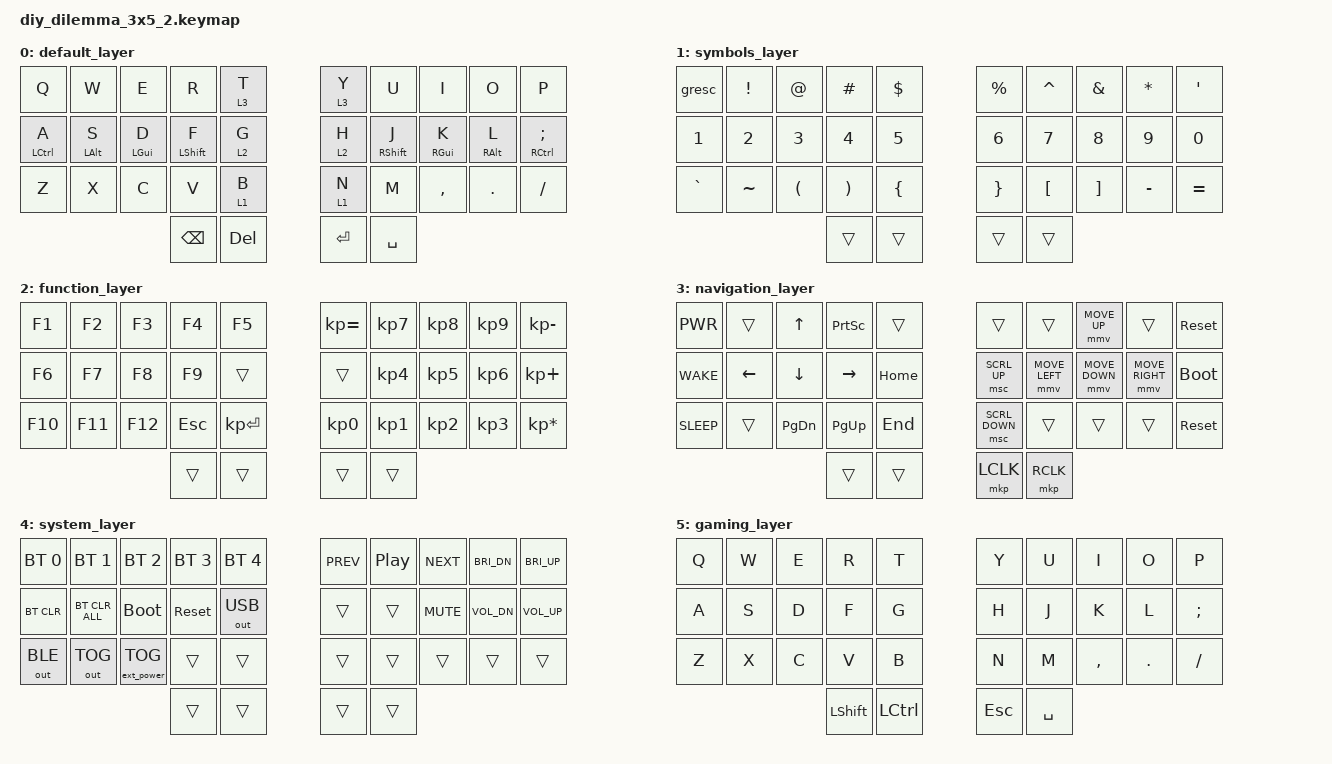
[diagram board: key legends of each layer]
/*
 * Copyright (c) 2023 The ZMK Contributors
 *
 * SPDX-License-Identifier: MIT
 */

#include <behaviors.dtsi>
#include <dt-bindings/zmk/bt.h>
#include <dt-bindings/zmk/keys.h>
#include <dt-bindings/zmk/mouse.h>
#include <dt-bindings/zmk/ext_power.h>
#include <dt-bindings/zmk/outputs.h>

&mt {
    flavor = "tap-preferred";
    tapping_term_ms = <175>;
};

/ {
    combos {
        compatible = "zmk,combos";
        combo_esc {
            timeout-ms = <50>;
            key-positions = <0 1>;
            bindings = <&kp ESC>;
        };
        
        combo_tab {
            timeout-ms = <50>;
            key-positions = <10 11>;
            bindings = <&kp TAB>;
        };
        
        combo_ralt {
            timeout-ms = <50>;
            key-positions = <17 16>;
            bindings = <&kp RALT>;
        };
        
        combo_lalt {
            timeout-ms = <50>;
            key-positions = <11 12>;
            bindings = <&kp LALT>;
        };
        
        combo_lgui {
            timeout-ms = <50>;
            key-positions = <12 13>;
            bindings = <&kp LGUI>;
        };
        
        combo_rgui {
            timeout-ms = <50>;
            key-positions = <15 16>;
            bindings = <&kp RGUI>;
        };
        
        combo_system_left {
            timeout-ms = <40>;
            key-positions = <24 31>; // B + DEL
            bindings = <&mo 4>;
        };
        
        combo_system_right {
            timeout-ms = <40>;
            key-positions = <25 32>; // N + ENT
            bindings = <&mo 4>;
        };
        
        combo_undo {
            timeout-ms = <50>;
            key-positions = <20 21>; // Z + X
            bindings = <&kp LC(Z)>;
        };
        
        combo_cut {
            timeout-ms = <50>;
            key-positions = <21 22>; // X + C
            bindings = <&kp LC(X)>;
        };
        
        combo_copy {
            timeout-ms = <50>;
            key-positions = <22 23>; // C + V
            bindings = <&kp LC(C)>;
        };
        
        combo_paste {
            timeout-ms = <50>;
            key-positions = <23 24>; // V + B
            bindings = <&kp LC(V)>;
        };
        
        combo_gaming_toggle {
            timeout-ms = <50>;
            key-positions = <0 9>; // Q + P
            bindings = <&tog 5>;
        };
        
        combo_gaming_numbers {
            timeout-ms = <40>;
            key-positions = <30 31>; // Both thumb keys
            bindings = <&mo 1>;
            layers = <5>;
        };
    };

    keymap {
        compatible = "zmk,keymap";
        default_layer {
            bindings = <
        //╭──────────┬──────────┬──────────┬──────────┬──────────╮   ╭──────────┬──────────┬──────────┬──────────┬──────────╮
        //│  Q       │  W       │  E       │  R       │  T       │   │  Y       │  U       │  I       │  O       │  P       │
            &kp Q      &kp W      &kp E      &kp R      &lt 3 T        &lt 3 Y    &kp U      &kp I      &kp O      &kp P
        //├──────────┼──────────┼──────────┼──────────┼──────────┤   ├──────────┼──────────┼──────────┼──────────┼──────────┤
        //│ MT(CTRL,A)│ MT(ALT,S) │ MT(GUI,D) │MT(SHFT,F) │  G       │   │  H       │MT(SHFT,J) │ MT(GUI,K) │ MT(ALT,L) │MT(CTRL,;)│
            &mt LCTRL A &mt LALT S &mt LGUI D &mt LSHIFT F &lt 2 G    &lt 2 H  &mt RSHIFT J &mt RGUI K &mt RALT L &mt RCTRL SEMICOLON
        //├──────────┼──────────┼──────────┼──────────┼──────────┤   ├──────────┼──────────┼──────────┼──────────┼──────────┤
        //│    Z     │    X     │    C     │    V     │  B       │   │  N       │    M     │    ,     │    .     │    /     │
           &kp Z      &kp X      &kp C      &kp V      &lt 1 B        &lt 1 N    &kp M      &kp COMMA  &kp DOT    &kp SLASH
        //╰──────────┴──────────┴──────────┼──────────┼──────────┤   ├──────────┼──────────┼──────────┴──────────┴──────────╯
                                             &kp BSPC   &kp DEL        &kp ENTER  &kp SPACE
        //                                 ╰──────────┴──────────╯   ╰──────────┴──────────╯
            >;
        };

        symbols_layer {
            bindings = <
        //╭──────────┬──────────┬──────────┬──────────┬──────────╮   ╭──────────┬──────────┬──────────┬──────────┬──────────╮
        //│ ESC      │  !       │  @       │  #       │  $       │   │  %       │  ^       │  &       │  *       │  '       │
           &gresc     &kp EXCL   &kp AT     &kp HASH   &kp DLLR       &kp PRCNT  &kp CARET  &kp AMPS   &kp ASTRK  &kp APOS
        //├──────────┼──────────┼──────────┼──────────┼──────────┤   ├──────────┼──────────┼──────────┼──────────┼──────────┤
        //│  1       │  2       │  3       │  4       │  5       │   │  6       │  7       │  8       │  9       │  0       │
            &kp N1     &kp N2     &kp N3     &kp N4     &kp N5         &kp N6     &kp N7     &kp N8     &kp N9     &kp N0
        //├──────────┼──────────┼──────────┼──────────┼──────────┤   ├──────────┼──────────┼──────────┼──────────┼──────────┤
        //│  `       │  ~       │  (       │  )       │  {       │   │  }       │  [       │  ]       │  -       │  =       │
            &kp GRAVE  &kp TILDE  &kp LPAR   &kp RPAR   &kp LBRC       &kp RBRC   &kp LBKT   &kp RBKT   &kp MINUS  &kp EQUAL
        //╰──────────┴──────────┴──────────┼──────────┼──────────┤   ├──────────┼──────────┼──────────┴──────────┴──────────╯
                                             &trans     &trans         &trans     &trans
        //                                 ╰──────────┴──────────╯   ╰──────────┴──────────╯
            >;
        };

        function_layer {
            bindings = <
        //╭──────────┬──────────┬──────────┬──────────┬──────────╮   ╭──────────┬──────────┬──────────┬──────────┬──────────╮
        //│ F1       │  F2      │  F3      │  F4      │  F5      │   │  =       │  7       │  8       │  9       │  -       │
            &kp F1     &kp F2     &kp F3     &kp F4     &kp F5         &kp KP_EQUAL &kp KP_N7 &kp KP_N8  &kp KP_N9  &kp KP_MINUS
        //├──────────┼──────────┼──────────┼──────────┼──────────┤   ├──────────┼──────────┼──────────┼──────────┼──────────┤
        //│ F6       │  F7      │  F8      │  F9      │          │   │          │  4       │  5       │  6       │  +       │
            &kp F6     &kp F7     &kp F8     &kp F9     &trans         &trans     &kp KP_N4  &kp KP_N5  &kp KP_N6  &kp KP_PLUS
        //├──────────┼──────────┼──────────┼──────────┼──────────┤   ├──────────┼──────────┼──────────┼──────────┼──────────┤
        //│ F10      │  F11     │  F12     │  ESC     │  ENTER   │   │  0       │  1       │  2       │  3       │  *       │
            &kp F10    &kp F11    &kp F12    &kp ESC    &kp KP_ENTER   &kp KP_N0  &kp KP_N1  &kp KP_N2  &kp KP_N3  &kp KP_ASTERISK
        //╰──────────┴──────────┴──────────┼──────────┼──────────┤   ├──────────┼──────────┼──────────┴──────────┴──────────╯
                                             &trans     &trans         &trans     &trans
        //                                 ╰──────────┴──────────╯   ╰──────────┴──────────╯
            >;
        };
        
        navigation_layer {
            bindings = <
        //╭──────────┬──────────┬──────────┬──────────┬──────────╮   ╭──────────┬──────────┬──────────┬──────────┬──────────╮
        //│ POWER    │          │  UP      │ PSCREEN  │          │   │          │          │ MS_UP    │          │ EE_CLR   │
           &kp C_PWR   &trans     &kp UP     &kp PSCRN  &trans         &trans     &trans     &mmv MOVE_UP &trans   &sys_reset
        //├──────────┼──────────┼──────────┼──────────┼──────────┤   ├──────────┼──────────┼──────────┼──────────┼──────────┤
        //│ WAKE     │ LEFT     │ DOWN     │ RIGHT    │ HOME     │   │ SCRL_UP  │ MS_LEFT  │ MS_DOWN  │ MS_RIGHT │ BOOT     │
           &kp C_WAKE  &kp LEFT   &kp DOWN   &kp RIGHT  &kp HOME       &msc SCRL_UP &mmv MOVE_LEFT &mmv MOVE_DOWN &mmv MOVE_RIGHT &bootloader
        //├──────────┼──────────┼──────────┼──────────┼──────────┤   ├──────────┼──────────┼──────────┼──────────┼──────────┤
        //│ SLEEP    │          │ PG_DN    │ PG_UP    │ END      │   │ SCRL_DN  │          │          │          │ RESET    │
           &kp C_SLEEP &trans     &kp PG_DN  &kp PG_UP  &kp END        &msc SCRL_DOWN &trans &trans     &trans     &sys_reset
        //╰──────────┴──────────┴──────────┼──────────┼──────────┤   ├──────────┼──────────┼──────────┴──────────┴──────────╯
                                             &trans     &trans         &mkp LCLK  &mkp RCLK
        //                                 ╰──────────┴──────────╯   ╰──────────┴──────────╯
            >;
        };

        system_layer {
            bindings = <
        //╭──────────┬──────────┬──────────┬──────────┬──────────╮   ╭──────────┬──────────┬──────────┬──────────┬──────────╮
        //│ BT_0     │ BT_1     │ BT_2     │ BT_3     │ BT_4     │   │  PREV    │  PLAY    │  NEXT    │  BRID    │  BRIU    │
           &bt BT_SEL 0 &bt BT_SEL 1 &bt BT_SEL 2 &bt BT_SEL 3 &bt BT_SEL 4 &kp C_PREV &kp C_PP &kp C_NEXT &kp C_BRI_DN &kp C_BRI_UP
        //├──────────┼──────────┼──────────┼──────────┼──────────┤   ├──────────┼──────────┼──────────┼──────────┼──────────┤
        //│ BT_CLR   │BT_CLR_ALL│BOOTLOADER│ RESET    │ OUT_USB  │   │          │          │  MUTE    │  VOL-    │  VOL+    │
           &bt BT_CLR &bt BT_CLR_ALL &bootloader &sys_reset &out OUT_USB &trans &trans &kp C_MUTE &kp C_VOL_DN &kp C_VOL_UP
        //├──────────┼──────────┼──────────┼──────────┼──────────┤   ├──────────┼──────────┼──────────┼──────────┼──────────┤
        //│ OUT_BLE  │ OUT_TOG  │ EXT_PWR  │          │          │   │          │          │          │          │          │
           &out OUT_BLE &out OUT_TOG &ext_power EP_TOG &trans &trans &trans &trans &trans &trans &trans
        //╰──────────┴──────────┴──────────┼──────────┼──────────┤   ├──────────┼──────────┼──────────┴──────────┴──────────╯
                                             &trans     &trans         &trans     &trans
        //                                 ╰──────────┴──────────╯   ╰──────────┴──────────╯
            >;
        };
        
        gaming_layer {
            bindings = <
        //╭──────────┬──────────┬──────────┬──────────┬──────────╮   ╭──────────┬──────────┬──────────┬──────────┬──────────╮
        //│  Q       │  W       │  E       │  R       │  T       │   │  Y       │  U       │  I       │  O       │  P       │
            &kp Q      &kp W      &kp E      &kp R      &kp T          &kp Y      &kp U      &kp I      &kp O      &kp P
        //├──────────┼──────────┼──────────┼──────────┼──────────┤   ├──────────┼──────────┼──────────┼──────────┼──────────┤
        //│  A       │  S       │  D       │  F       │  G       │   │  H       │  J       │  K       │  L       │ ;        │
            &kp A      &kp S      &kp D      &kp F      &kp G          &kp H      &kp J      &kp K      &kp L      &kp SEMICOLON
        //├──────────┼──────────┼──────────┼──────────┼──────────┤   ├──────────┼──────────┼──────────┼──────────┼──────────┤
        //│  Z       │  X       │  C       │  V       │  B       │   │  N       │  M       │  ,       │  .       │  /       │
            &kp Z      &kp X      &kp C      &kp V      &kp B          &kp N      &kp M      &kp COMMA  &kp DOT    &kp SLASH
        //╰──────────┴──────────┴──────────┼──────────┼──────────┤   ├──────────┼──────────┼──────────┴──────────┴──────────╯
                                             &kp LSHFT  &kp LCTRL      &kp ESC    &kp SPACE
        //                                 ╰──────────┴──────────╯   ╰──────────┴──────────╯
            >;
        };
    };
};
